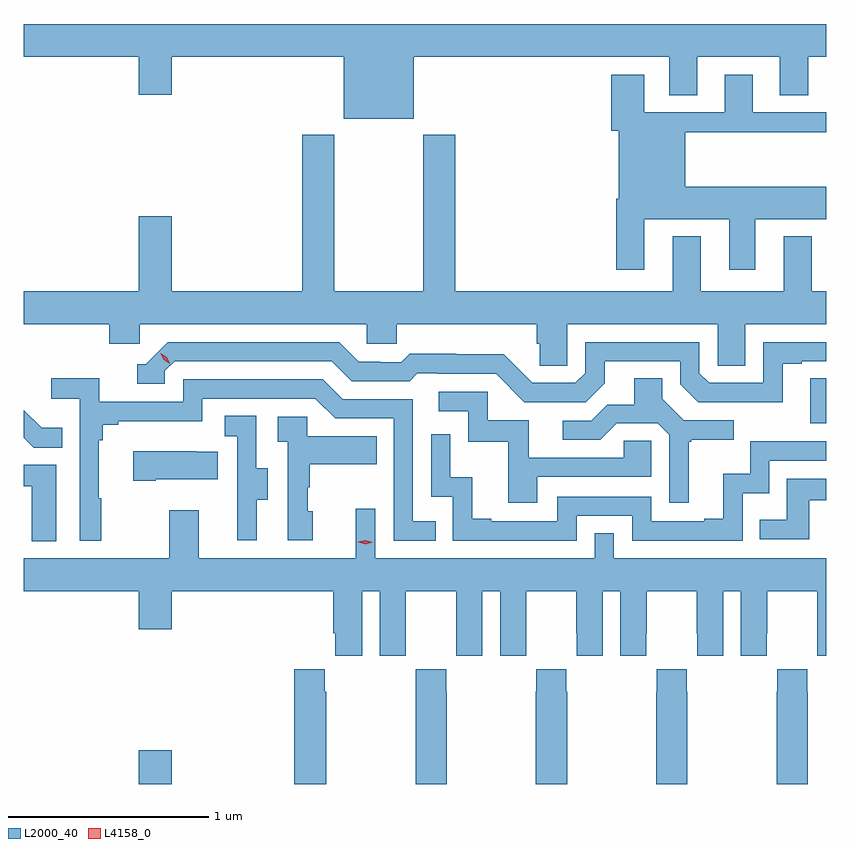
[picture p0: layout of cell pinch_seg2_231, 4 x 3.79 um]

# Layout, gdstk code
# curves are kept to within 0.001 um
import gdstk
lib = gdstk.Library(unit=1e-6, precision=1e-09)
def R(c, l, rs):  # rectangles x0, y0, x1, y1
    for r in rs: c.add(gdstk.rectangle(r[:2], r[2:], *l))
def P(c, l, *ps):  # polygons
    for p in ps: c.add(gdstk.Polygon(p, *l))
L2000_40 = (2000, 40)
L4158_0 = (4158, 0)

pinch_seg2_231 = lib.new_cell('pinch_seg2_231')
R(pinch_seg2_231, L2000_40, [(932.24,648.008,932.404,648.175), (935.585,649.806,935.666,650.03)])
P(pinch_seg2_231, L2000_40, [(933.61,651.632),(934.883,651.632),(934.883,651.442),(935.023,651.442),(935.023,651.632),(935.435,651.632),(935.435,651.442),(935.575,651.442),(935.575,651.632),(935.666,651.632),(935.666,651.796),(931.666,651.796),(931.666,651.632),(932.24,651.632),(932.24,651.444),(932.404,651.444),(932.404,651.632),(933.26,651.632),(933.26,651.323),(933.61,651.323)],
  [(934.759,650.822),(935.183,650.822),(935.183,650.571),(935.311,650.571),(935.311,650.822),(935.666,650.822),(935.666,650.986),(934.963,650.986),(934.963,651.256),(935.666,651.256),(935.666,651.357),(935.299,651.357),(935.299,651.544),(935.159,651.544),(935.159,651.357),(934.759,651.357),(934.759,651.544),(934.595,651.544),(934.595,651.264),(934.631,651.264),(934.631,650.926),(934.619,650.926),(934.619,650.571),(934.759,650.571)],
  [(934.374,650.3),(935.124,650.3),(935.124,650.092),(935.263,650.092),(935.263,650.3),(935.666,650.3),(935.666,650.464),(935.593,650.464),(935.593,650.737),(935.453,650.737),(935.453,650.464),(935.041,650.464),(935.041,650.737),(934.901,650.737),(934.901,650.464),(933.818,650.464),(933.818,651.244),(933.658,651.244),(933.658,650.464),(933.213,650.464),(933.213,651.244),(933.053,651.244),(933.053,650.464),(932.404,650.464),(932.404,650.839),(932.24,650.839),(932.24,650.464),(931.666,650.464),(931.666,650.3),(932.093,650.3),(932.093,650.202),(932.244,650.202),(932.244,650.3),(933.375,650.3),(933.375,650.202),(933.525,650.202),(933.525,650.3),(934.223,650.3),(934.223,650.202),(934.237,650.202),(934.237,650.092),(934.374,650.092)],
  [(935.449,650.103),(935.545,650.103),(935.545,650.115),(935.666,650.115),(935.666,650.211),(935.352,650.211),(935.352,650.007),(935.082,650.007),(935.034,650.055),(935.034,650.211),(934.464,650.211),(934.464,650.055),(934.416,650.007),(934.2,650.007),(934.058,650.149),(933.822,650.149),(933.822,650.152),(933.589,650.152),(933.547,650.109),(933.444,650.109),(933.444,650.112),(933.337,650.112),(933.238,650.211),(932.385,650.211),(932.274,650.1),(932.231,650.1),(932.231,650.004),(932.37,650.004),(932.37,650.067),(932.418,650.115),(933.201,650.115),(933.3,650.016),(933.589,650.016),(933.628,650.055),(933.727,650.055),(933.727,650.052),(934.02,650.052),(934.161,649.911),(934.467,649.911),(934.561,650.005),(934.561,650.115),(934.938,650.115),(934.938,650.001),(935.028,649.911),(935.449,649.91)],
  [(932.053,649.433),(932.041,649.433),(932.041,649.721),(932.06,649.721),(932.06,649.798),(932.137,649.798),(932.137,649.817),(932.556,649.817),(932.556,649.929),(933.12,649.929),(933.219,649.83),(933.51,649.83),(933.51,649.221),(933.719,649.221),(933.719,649.317),(933.606,649.317),(933.606,649.926),(933.256,649.926),(933.157,650.025),(932.46,650.025),(932.46,649.914),(932.042,649.914),(932.042,650.03),(931.803,650.03),(931.803,649.928),(931.944,649.928),(931.944,649.221),(932.053,649.221)],
  [(934.981,649.713),(934.993,649.713),(934.993,649.724),(935.206,649.724),(935.206,649.821),(934.956,649.821),(934.849,649.928),(934.849,650.03),(934.709,650.03),(934.709,649.898),(934.574,649.898),(934.494,649.818),(934.353,649.818),(934.353,649.725),(934.54,649.725),(934.621,649.806),(934.827,649.806),(934.884,649.749),(934.884,649.41),(934.981,649.41)],
  [(934.225,649.539),(934.794,649.539),(934.794,649.719),(934.657,649.719),(934.657,649.635),(934.183,649.635),(934.183,649.821),(933.978,649.821),(933.978,649.962),(933.735,649.962),(933.735,649.866),(933.882,649.866),(933.882,649.713),(934.081,649.713),(934.081,649.41),(934.225,649.41)],
  [(931.859,649.783),(931.755,649.783),(931.666,649.872),(931.666,649.734),(931.716,649.684),(931.859,649.684)],
  [(932.827,649.426),(932.881,649.426),(932.881,649.581),(932.826,649.581),(932.826,649.844),(932.667,649.844),(932.667,649.741),(932.73,649.741),(932.73,649.437),(932.729,649.437),(932.729,649.224),(932.827,649.224)],
  [(933.106,649.368),(933.081,649.368),(933.081,649.487),(933.091,649.487),(933.091,649.601),(933.425,649.601),(933.425,649.741),(933.078,649.741),(933.078,649.839),(932.931,649.839),(932.931,649.715),(932.982,649.715),(932.982,649.224),(933.106,649.224)],
  [(934.422,649.344),(934.698,649.344),(934.698,649.221),(935.25,649.221),(935.25,649.457),(935.382,649.457),(935.382,649.62),(935.666,649.62),(935.666,649.716),(935.286,649.716),(935.286,649.555),(935.153,649.555),(935.153,649.33),(935.057,649.33),(935.057,649.317),(934.794,649.317),(934.794,649.44),(934.326,649.44),(934.326,649.317),(933.997,649.317),(933.997,649.33),(933.902,649.33),(933.902,649.538),(933.792,649.538),(933.792,649.75),(933.696,649.75),(933.696,649.44),(933.804,649.44),(933.804,649.221),(934.422,649.221)],
  [(932.323,649.526),(932.633,649.526),(932.633,649.663),(932.525,649.663),(932.525,649.666),(932.211,649.666),(932.211,649.519),(932.323,649.519)],
  [(931.828,649.599),(931.666,649.599),(931.666,649.491),(931.706,649.491),(931.706,649.217),(931.828,649.217)],
  [(935.581,649.422),(935.666,649.422),(935.666,649.53),(935.47,649.53),(935.47,649.324),(935.335,649.324),(935.335,649.227),(935.581,649.227)],
  [(932.404,648.968),(933.209,648.968),(933.209,648.76),(933.218,648.76),(933.218,648.648),(933.352,648.648),(933.352,648.968),(933.44,648.968),(933.44,648.648),(933.57,648.648),(933.57,648.76),(933.571,648.76),(933.571,648.968),(933.821,648.968),(933.821,648.76),(933.822,648.76),(933.822,648.648),(933.952,648.648),(933.952,648.968),(934.04,648.968),(934.04,648.648),(934.17,648.648),(934.17,648.76),(934.171,648.76),(934.171,648.968),(934.421,648.968),(934.421,648.76),(934.422,648.76),(934.422,648.648),(934.552,648.648),(934.552,648.968),(934.64,648.968),(934.64,648.648),(934.77,648.648),(934.77,648.76),(934.771,648.76),(934.771,648.968),(935.021,648.968),(935.021,648.76),(935.022,648.76),(935.022,648.648),(935.152,648.648),(935.152,648.968),(935.24,648.968),(935.24,648.648),(935.37,648.648),(935.37,648.76),(935.371,648.76),(935.371,648.968),(935.621,648.968),(935.621,648.76),(935.622,648.76),(935.622,648.648),(935.666,648.648),(935.666,649.132),(934.608,649.132),(934.608,649.259),(934.512,649.259),(934.512,649.132),(933.417,649.132),(933.417,649.381),(933.32,649.381),(933.32,649.132),(932.539,649.132),(932.539,649.372),(932.392,649.372),(932.392,649.132),(931.666,649.132),(931.666,648.968),(932.24,648.968),(932.24,648.78),(932.404,648.78)],
  [(933.174,648.467),(933.167,648.467),(933.167,648.58),(933.014,648.58),(933.014,648.008),(933.174,648.008)],
  [(935.574,648.467),(935.571,648.467),(935.571,648.58),(935.421,648.58),(935.421,648.467),(935.419,648.467),(935.419,648.008),(935.574,648.008)],
  [(934.974,648.467),(934.971,648.467),(934.971,648.58),(934.821,648.58),(934.821,648.467),(934.819,648.467),(934.819,648.008),(934.974,648.008)],
  [(934.374,648.467),(934.371,648.467),(934.371,648.58),(934.221,648.58),(934.221,648.467),(934.219,648.467),(934.219,648.008),(934.374,648.008)],
  [(933.621,648.467),(933.619,648.467),(933.619,648.008),(933.774,648.008),(933.774,648.467),(933.771,648.467),(933.771,648.58),(933.621,648.58)])
P(pinch_seg2_231, L4158_0, [(933.37,649.204),(933.334,649.214),(933.334,649.214),(933.334,649.215),(933.37,649.224),(933.406,649.213),(933.406,649.213),(933.406,649.213)],
  [(932.394,650.102),(932.364,650.122),(932.348,650.154),(932.348,650.154),(932.349,650.154),(932.379,650.135),(932.394,650.102),(932.394,650.102)])

lib.write_gds('pinch_seg2_231.gds')
